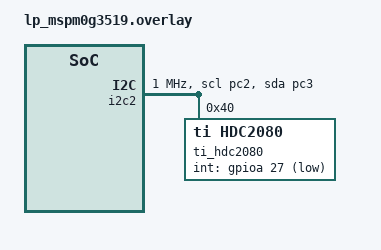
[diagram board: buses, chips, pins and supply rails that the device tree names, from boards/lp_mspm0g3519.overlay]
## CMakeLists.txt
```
# SPDX-FileCopyrightText: 2026 Texas Instruments Incorporated
# SPDX-License-Identifier: LicenseRef-TI-TFL

cmake_minimum_required(VERSION 3.20.0)

find_package(Zephyr REQUIRED HINTS $ENV{ZEPHYR_BASE})
project(ti_thermostat)

set(UI_DIR ${CMAKE_CURRENT_SOURCE_DIR}/ui)

include(${UI_DIR}/file_list_gen.cmake)
include(${UI_DIR}/user_config.cmake)

target_sources(app PRIVATE
    src/main.c
    src/sensor_monitor.c
    ${LV_EDITOR_PROJECT_SOURCES}
)

target_include_directories(app PRIVATE ${UI_DIR})

target_compile_definitions(app PRIVATE LV_LVGL_H_INCLUDE_SIMPLE)
```

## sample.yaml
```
sample:
  name: TI Thermostat LVGL UI
  description: >
    Smart-thermostat LVGL UI with Waveshare 3.5" RPi LCD (F) display and BP-BASSENSORSMKII 
    BoosterPack sensors.
tests:
  application.thermostat_app:
    tags:
      - lvgl
      - display
      - gui
    harness: none
    extra_args: SHIELD=waveshare_3_5_rpi_lcd_f
    platform_allow:
      - lp_mspm0g3519
```

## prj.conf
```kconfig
# SPDX-FileCopyrightText: 2026 Texas Instruments Incorporated
# SPDX-License-Identifier: LicenseRef-TI-TFL

CONFIG_DISPLAY=y
CONFIG_LVGL=y
CONFIG_INPUT=y

CONFIG_MAIN_STACK_SIZE=12288
CONFIG_HEAP_MEM_POOL_SIZE=4096

# RGB565 to match the ST7796S panel.
CONFIG_LV_COLOR_DEPTH_16=y
CONFIG_LV_USE_OBSERVER=y
CONFIG_LV_USE_THEME_SIMPLE=y

# Float subjects for temperature (HDC2080).
CONFIG_LV_USE_FLOAT=y
CONFIG_CBPRINTF_FP_SUPPORT=y

# Widgets used by the thermostat UI.
CONFIG_LV_USE_LABEL=y
CONFIG_LV_USE_IMAGE=y
CONFIG_LV_USE_BUTTON=y
CONFIG_LV_USE_ARC=y
CONFIG_LV_USE_LINE=y
CONFIG_LV_USE_CHART=y
CONFIG_LV_USE_ROLLER=y
CONFIG_LV_FONT_MONTSERRAT_14=y
CONFIG_LV_USE_OBJ_NAME=y
CONFIG_LV_Z_POINTER_INPUT_MSGQ_COUNT=32
CONFIG_INPUT_MODE_SYNCHRONOUS=y
CONFIG_LV_Z_POINTER_INPUT=y
CONFIG_LV_ATTRIBUTE_MEM_ALIGN_SIZE=4

# HDC2080 temperature/humidity sensor.
CONFIG_SENSOR=y
CONFIG_TI_HDC20XX=y

# RTC for real-time clock display.
CONFIG_RTC=y
```

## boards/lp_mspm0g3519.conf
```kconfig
# SPDX-FileCopyrightText: 2026 Texas Instruments Incorporated
# SPDX-License-Identifier: LicenseRef-TI-TFL

CONFIG_LV_Z_VDB_SIZE=7
CONFIG_LV_Z_DOUBLE_VDB=y
CONFIG_LV_Z_MEM_POOL_SIZE=55000
CONFIG_LV_Z_FLUSH_THREAD=y
CONFIG_LV_Z_FLUSH_THREAD_STACK_SIZE=2048
CONFIG_LV_Z_FLUSH_THREAD_PRIORITY=-1
```

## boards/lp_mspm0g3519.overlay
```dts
/*
 * SPDX-FileCopyrightText: 2026 Texas Instruments Incorporated
 *
 * SPDX-License-Identifier: LicenseRef-TI-TFL
 */

&i2c2 {
	status = "okay";
	pinctrl-0 = <&i2c2_scl_pc2 &i2c2_sda_pc3>;
	pinctrl-names = "default";
	clock-frequency = <1000000>;

	ti_hdc2080@40 {
		compatible = "ti,hdc2080";
		reg = <0x40>;
		int-gpios = <&gpioa 27 (GPIO_ACTIVE_LOW | GPIO_PULL_UP)>;
	};
};

&flash0 {
	reg = <0x0 DT_SIZE_K(512)>;
};

&sram0 {
	reg = <0x20200000 DT_SIZE_K(128)>;
};
```

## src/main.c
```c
/*
 * SPDX-FileCopyrightText: 2026 Texas Instruments Incorporated
 *
 * SPDX-License-Identifier: LicenseRef-TI-TFL
 */

#include <zephyr/device.h>
#include <zephyr/devicetree.h>
#include <zephyr/drivers/display.h>
#include <zephyr/kernel.h>
#include <lvgl.h>

#include "ti_thermostat.h"
#include "ti_thermostat_gen.h"
#include "sensor_monitor.h"

#define LOG_LEVEL CONFIG_LOG_DEFAULT_LEVEL
#include <zephyr/logging/log.h>
LOG_MODULE_REGISTER(app);

int main(void)
{
	const struct device *display_dev = DEVICE_DT_GET(DT_CHOSEN(zephyr_display));
	int ret;

	if (!device_is_ready(display_dev)) {
		LOG_ERR("Display device not ready");
		return 0;
	}

	ti_thermostat_init("A:");

	sensor_monitor_init();

	lv_timer_handler();
	ret = display_blanking_off(display_dev);
	if (ret < 0 && ret != -ENOSYS) {
		LOG_ERR("Failed to turn display blanking off (%d)", ret);
		return 0;
	}

	while (1) {
		uint32_t sleep_ms = lv_timer_handler();

		if (sleep_ms == LV_NO_TIMER_READY) {
			sleep_ms = LV_DEF_REFR_PERIOD;
		}

		k_sleep(K_MSEC(sleep_ms));
	}

	return 0;
}
```

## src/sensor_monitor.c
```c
/*
 * SPDX-FileCopyrightText: 2026 Texas Instruments Incorporated
 *
 * SPDX-License-Identifier: LicenseRef-TI-TFL
 */

#include <zephyr/kernel.h>
#include <zephyr/device.h>
#include <zephyr/drivers/sensor.h>
#include <zephyr/drivers/rtc.h>
#include <zephyr/logging/log.h>
#include <lvgl.h>

#include "ti_thermostat.h"
#include "sensor_monitor.h"

LOG_MODULE_REGISTER(sensor_monitor, CONFIG_LOG_DEFAULT_LEVEL);

static const struct device *hdc_dev;
static const struct device *rtc_dev;
static lv_timer_t *sensor_timer;

static void sensor_tick_cb(lv_timer_t *timer)
{
	struct sensor_value temp, humidity;
	struct rtc_time tm;
	char time_str[6];
	int rc;

	LV_UNUSED(timer);

	rc = sensor_sample_fetch(hdc_dev);
	if (rc != 0) {
		LOG_WRN("Failed to fetch sensor sample: %d", rc);
		return;
	}

	rc = sensor_channel_get(hdc_dev, SENSOR_CHAN_AMBIENT_TEMP, &temp);
	if (rc != 0) {
		LOG_WRN("Failed to get temperature: %d", rc);
		return;
	}

	rc = sensor_channel_get(hdc_dev, SENSOR_CHAN_HUMIDITY, &humidity);
	if (rc != 0) {
		LOG_WRN("Failed to get humidity: %d", rc);
		return;
	}

	float temp_c = sensor_value_to_float(&temp);
	int hum_pct = (int)(sensor_value_to_double(&humidity) + 0.5);

	rc = rtc_get_time(rtc_dev, &tm);
	if (rc != 0) {
		LOG_WRN("Failed to get RTC time: %d", rc);
		return;
	}

	snprintf(time_str, sizeof(time_str), "%02d:%02d", tm.tm_hour, tm.tm_min);

	lv_subject_set_float(&subject_now_temp, temp_c);
	lv_subject_set_int(&subject_humidity, hum_pct);
	lv_subject_copy_string(&subject_time, time_str);
}

int sensor_monitor_init(void)
{
	hdc_dev = DEVICE_DT_GET_ONE(ti_hdc2080);
	if (!device_is_ready(hdc_dev)) {
		LOG_ERR("HDC2080 device not ready");
		return -ENODEV;
	}

	rtc_dev = DEVICE_DT_GET(DT_ALIAS(rtc));
	if (!device_is_ready(rtc_dev)) {
		LOG_ERR("RTC device not ready");
		return -ENODEV;
	}

	sensor_timer = lv_timer_create(sensor_tick_cb, 1000, NULL);
	if (sensor_timer == NULL) {
		LOG_ERR("Failed to create sensor timer");
		return -ENOMEM;
	}

	LOG_INF("Sensor monitor initialized (HDC2080 + RTC)");
	return 0;
}
```

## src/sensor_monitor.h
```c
/*
 * SPDX-FileCopyrightText: 2026 Texas Instruments Incorporated
 *
 * SPDX-License-Identifier: LicenseRef-TI-TFL
 */

#ifndef SENSOR_MONITOR_H
#define SENSOR_MONITOR_H

#ifdef __cplusplus
extern "C" {
#endif

/**
 * @brief Initialize the sensor monitor.
 *
 * Initializes the HDC2080 temperature/humidity sensor and RTC, then
 * creates a periodic LVGL timer to update UI subjects with real data.
 *
 * @retval 0 on success.
 * @retval -ENODEV if a required device is not ready.
 * @retval -ENOMEM if the LVGL timer could not be created.
 */
int sensor_monitor_init(void);

#ifdef __cplusplus
}
#endif

#endif /* SENSOR_MONITOR_H */
```
